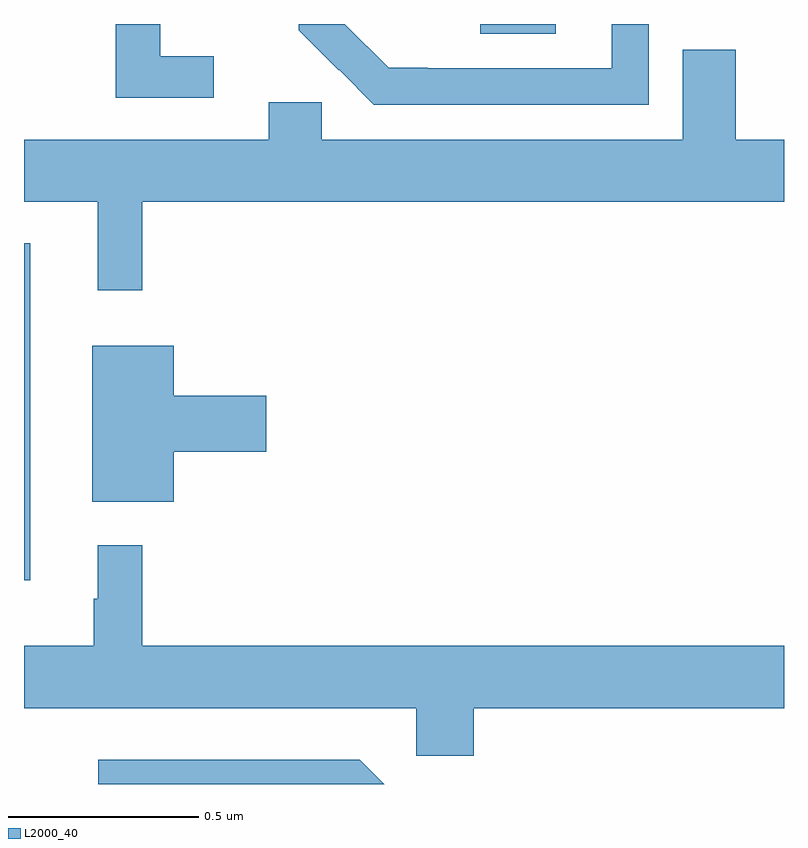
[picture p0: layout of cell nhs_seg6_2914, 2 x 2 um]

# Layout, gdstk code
import gdstk
lib = gdstk.Library(unit=1e-6, precision=1e-09)
def R(c, l, rs):  # rectangles x0, y0, x1, y1
    for r in rs: c.add(gdstk.rectangle(r[:2], r[2:], *l))
def P(c, l, *ps):  # polygons
    for p in ps: c.add(gdstk.Polygon(p, *l))
L2000_40 = (2000, 40)

nhs_seg6_2914 = lib.new_cell('nhs_seg6_2914')
R(nhs_seg6_2914, L2000_40, [(150,917.036,150.016,917.923), (151.2,918.474,151.399,918.5)])
P(nhs_seg6_2914, L2000_40, [(151.644,918.5),(151.547,918.5),(151.547,918.384),(151.063,918.384),(151.063,918.385),(150.96,918.385),(150.844,918.5),(150.723,918.5),(150.723,918.483),(150.828,918.378),(150.829,918.379),(150.92,918.288),(151.644,918.288)],
  [(150.499,918.415),(150.359,918.415),(150.359,918.5),(150.241,918.5),(150.241,918.306),(150.499,918.306)],
  [(150.311,918.032),(152,918.032),(152,918.196),(151.873,918.196),(151.873,918.432),(151.733,918.432),(151.733,918.196),(150.783,918.196),(150.783,918.294),(150.644,918.294),(150.644,918.196),(150,918.196),(150,918.032),(150.194,918.032),(150.194,917.799),(150.311,917.799)],
  [(150.394,917.375),(150.637,917.375),(150.637,917.522),(150.394,917.522),(150.394,917.653),(150.179,917.653),(150.179,917.243),(150.394,917.243)],
  [(151.184,916.7),(152,916.7),(152,916.864),(150.311,916.864),(150.311,917.128),(150.194,917.128),(150.194,916.988),(150.183,916.988),(150.183,916.864),(150,916.864),(150,916.7),(151.032,916.7),(151.032,916.574),(151.184,916.574)],
  [(150.884,916.564),(150.195,916.564),(150.195,916.5),(150.948,916.5)])

lib.write_gds('nhs_seg6_2914.gds')
